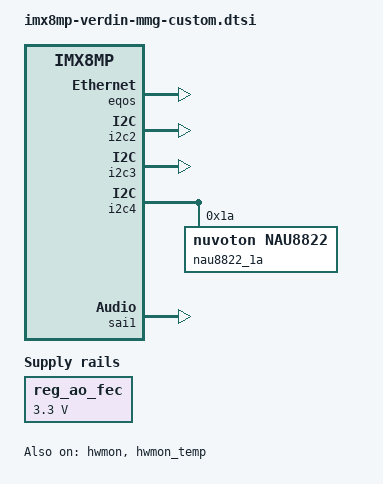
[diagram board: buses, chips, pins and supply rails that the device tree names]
// SPDX-License-Identifier: GPL-2.0-or-later OR MIT
/*
 * Copyright 2024 The Pink Mile
 */

 /dts-v1/;
 
 / {
    reg_ao_fec: regulator-eth2phy {
        compatible = "regulator-fixed";
        regulator-always-on;
        regulator-max-microvolt = <3300000>;
        regulator-min-microvolt = <3300000>;
        regulator-name = "+V3.3_ETH";
        startup-delay-us = <240000>;
    };
 };
 
 &eqos {
    status = "okay";
 };
 
 // Enable second ethernet device
 &fec {
    phy-supply: <&reg_ao_fec>;
    status: "okay";
 };
 
 /* Current measurement into module VCC */
 &hwmon {
    status = "okay";
 };
 
 &hwmon_temp {
    vs-supply = <&reg_1p8v>;
    status = "okay";
 };
 
 /* Verdin I2C_2_DSI */
 &i2c2 {
    status = "okay";
 };
 
 &i2c3 {
    status = "okay";
 };
 
 /* Verdin I2C_1 */
 &i2c4 {
    status = "okay";

    /* Audio Codec */
    nau8822_1a: audio-codec@1a {
        compatible = "nuvoton,nau8822";
        reg = <0x1a>;
        pinctrl-names = "default";
        pinctrl-0 = <&pinctrl_sai1>;
        #sound-dai-cells = <0>;
    };
 };
 
 /* Verdin I2S_1 */
 &sai1 {
    assigned-clocks = <&clk IMX8MP_CLK_SAI1>;
    assigned-clock-parents = <&clk IMX8MP_AUDIO_PLL1_OUT>;
    assigned-clock-rates = <24576000>;
    fsl,sai-mclk-direction-output;
    status = "okay";
 };
 
 /* ---------- Disabled Devices ---------- */
 
 /* EEPROM on display adapter boards */
 &eeprom_display_adapter {
    status = "disabled";
 };
 
 /* EEPROM on Verdin Development board */
 &eeprom_carrier_board {
    status = "disabled";
 };
 
 /* Verdin SPI_1 */
 &ecspi1 {
    status = "disabled";
 };

 &gpio_expander_21 {
    status = "disabled";
 };
 
 /* Not used as we will re-assign the pins for other stuff later */
 &usdhc2 {
    status = "disabled";
 };
 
